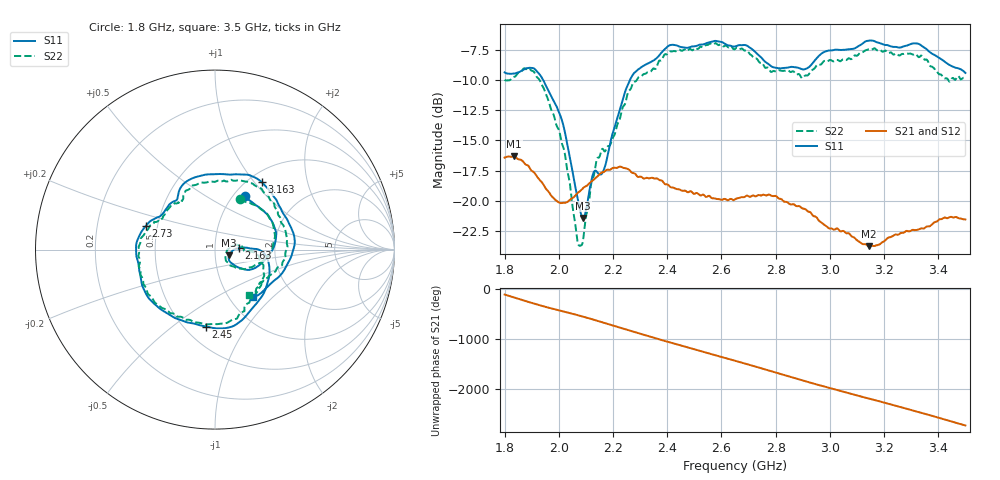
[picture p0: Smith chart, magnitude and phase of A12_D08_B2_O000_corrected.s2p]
! Created with skrf 1.9.0 (http://scikit-rf.org).
# Hz S RI R 50.0
!freq ReS11 ImS11 ReS21 ImS21 ReS12 ImS12 ReS22 ImS22
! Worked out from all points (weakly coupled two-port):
!   1601 points, 1.8 GHz to 3.5 GHz, reference 50 ohm
!   highest |S21| = -16.32 dB at 1.835 GHz (marker M1); lowest = -23.7 dB at 3.144 GHz (marker M2)
!   lowest |S11| = -21.4 dB at 2.09 GHz (marker M3), VSWR 1.19, Z = 58.4 - j3.73 ohm
!   |S11| at or under -10 dB: 1.942 GHz to 2.263 GHz (320.6 MHz wide, 15.2 % of centre)
!   |S22| runs from -23.7 to -7.0 dB; largest |S21 - S12| = 0.0029
!   S11 on the Smith chart (normalised r, x): 1.8 GHz: 1.13, +0.76; 2.163 GHz: 1.30, +0.02; 2.45 GHz: 0.63, -0.67; 2.73 GHz: 0.43, +0.14; 3.163 GHz: 1.15, +1.10; 3.5 GHz: 1.27, -0.76
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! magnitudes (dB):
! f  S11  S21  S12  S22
! 1.8 GHz  -9.4  -16.4  -16.4  -10.0
! 1.835 GHz  -9.5  -16.3  -16.3  -9.8
! 1.895 GHz  -9.0  -17.4  -17.3  -9.1
! 1.951 GHz  -10.4  -18.9  -18.9  -11.1
! 2.014 GHz  -13.5  -20.2  -20.2  -15.4
! 2.068 GHz  -19.6  -19.4  -19.4  -23.2
! 2.084 GHz  -21.2  -19.1  -19.0  -23.6
! 2.09 GHz  -21.4  -18.9  -19.0  -23.1
! 2.128 GHz  -17.7  -18.3  -18.3  -17.9
! 2.163 GHz  -17.6  -17.6  -17.6  -15.7
! 2.261 GHz  -10.1  -17.5  -17.5  -10.9
! 2.367 GHz  -8.1  -18.2  -18.2  -8.5
! 2.45 GHz  -7.3  -19.1  -19.1  -7.6
! 2.65 GHz  -7.2  -19.9  -19.8  -7.5
! 2.73 GHz  -7.8  -19.6  -19.6  -8.2
! 2.799 GHz  -9.0  -19.6  -19.6  -9.3
! 2.934 GHz  -8.7  -21.1  -21.1  -9.2
! 3.144 GHz  -6.8  -23.7  -23.7  -7.5
! 3.163 GHz  -6.8  -23.7  -23.7  -7.4
! 3.217 GHz  -7.2  -23.0  -23.0  -7.8
! 3.326 GHz  -7.0  -22.4  -22.3  -8.1
! 3.5 GHz  -9.4  -21.5  -21.5  -10.0
